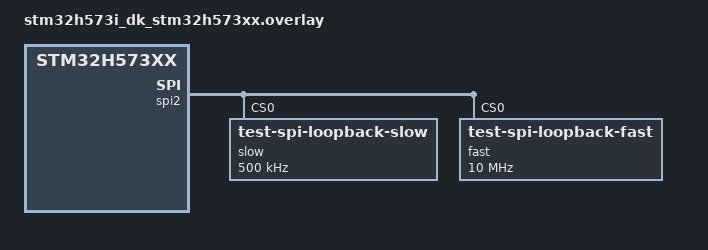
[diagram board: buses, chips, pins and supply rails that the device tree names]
/*
 * Copyright (c) 2023 STMicroelectronics
 *
 * SPDX-License-Identifier: Apache-2.0
 */

&rcc {
	apb1-prescaler = <2>;
};

&spi2 {
	dmas = <&gpdma1 0 9 STM32_DMA_PERIPH_TX
		&gpdma1 1 8 STM32_DMA_PERIPH_RX>;
	dma-names = "tx", "rx";

	slow@0 {
		compatible = "test-spi-loopback-slow";
		reg = <0>;
		spi-max-frequency = <500000>;
	};
	fast@0 {
		compatible = "test-spi-loopback-fast";
		reg = <0>;
		spi-max-frequency = <10000000>;
	};
};

&gpdma1 {
	status = "okay";
};

&gpdma2 {
	status = "okay";
};
